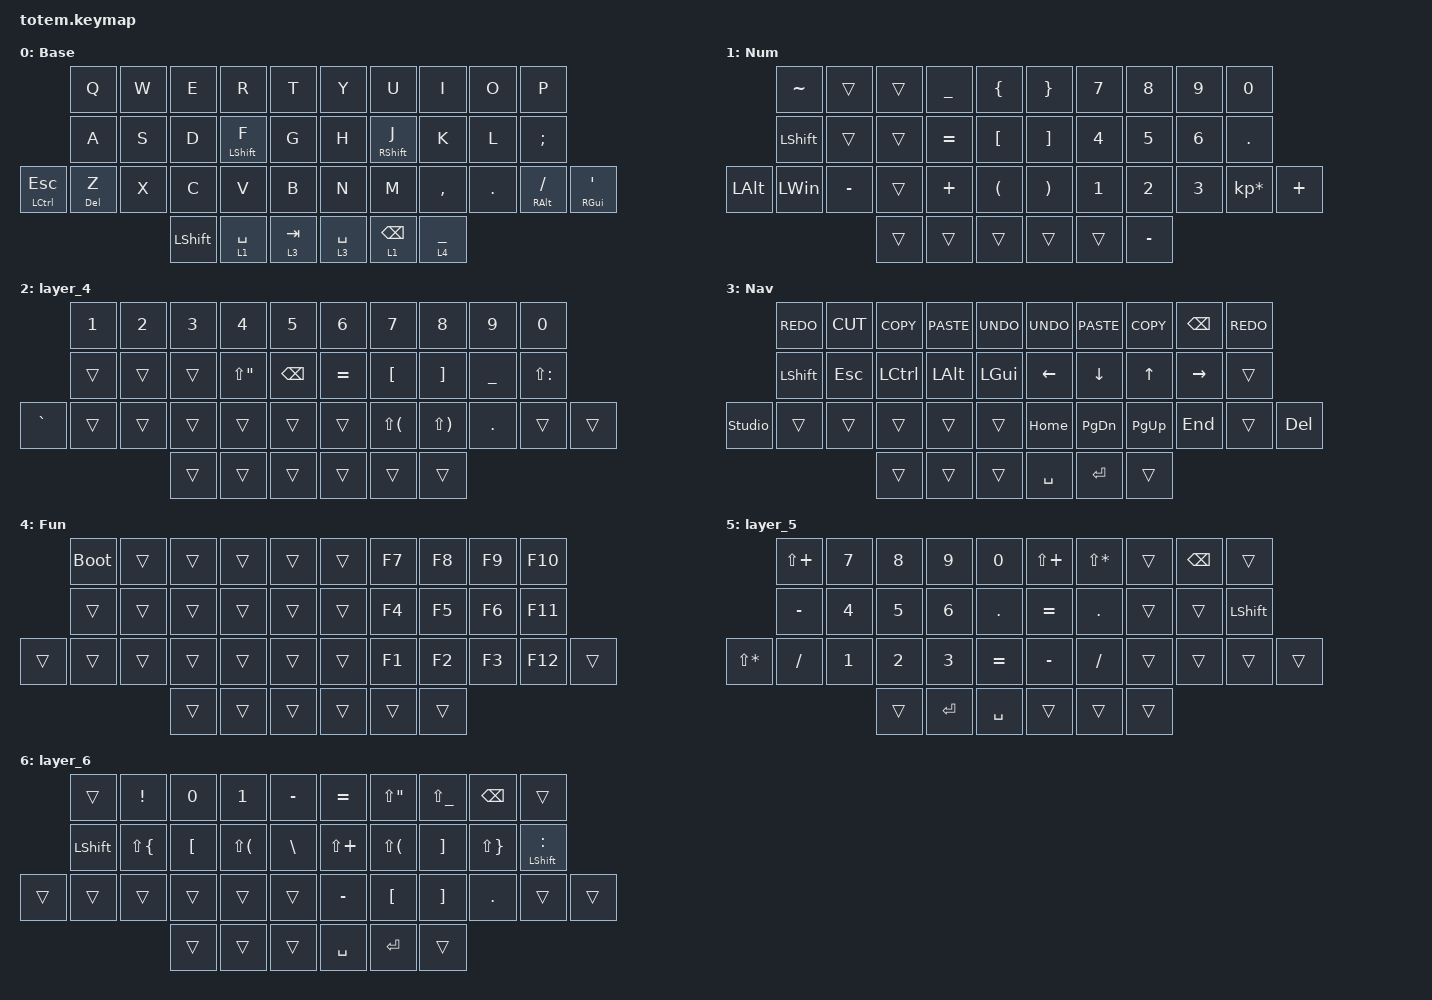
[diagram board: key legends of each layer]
//
//                                                        ▀▀▀▀▀     ▀▀▀▀▀          ▀▀█▀▀
//                                                        ▄▀▀▀▄  ▄  ▄▀▀▀▄  ▄  ▄▀▀▀▄  █  ▄▀▀▀▄
//                                                        █   █  █  █   █  █  █   █  █  █   █
//                                                         ▀▀▀   █   ▀▀▀   █   ▀▀▀   ▀   ▀▀▀
//                                                               █      ▄▄▄█▄▄▄    █   █  
//                                                               ▀      █  █  █     █▄█
//                                                             ▀▀▀▀▀    █  █  █      ▀
//                                                                      ▀  ▀  ▀
//
// ▄▄▄▄▄▄▄▄▄▄▄▄▄▄▄▄▄▄▄▄▄▄▄▄▄▄▄▄▄▄▄▄▄▄▄▄▄▄▄▄▄▄▄▄▄▄▄▄▄▄▄▄▄▄▄▄▄▄▄▄▄▄▄▄▄▄▄▄▄▄▄▄▄▄▄▄▄▄▄▄▄▄▄▄▄▄▄▄▄▄▄▄▄▄▄▄▄▄▄▄▄▄▄▄▄▄▄▄▄▄▄▄▄▄▄▄▄▄▄▄▄▄▄▄▄▄▄▄▄▄▄▄▄▄▄▄▄▄▄▄▄▄▄▄▄▄▄▄▄

#include <behaviors.dtsi>
#include <dt-bindings/zmk/keys.h>

#define Base        0
#define Nav         1
#define Sym         2
#define Fun         3
#define Game        4
#define Gameplus    5

&mt {
    quick-tap-ms = <100>;
    global-quick-tap;
    flavor = "tap-preferred";
    tapping-term-ms = <170>;
};

&lt {
    tapping-term-ms = <240>;
    flavor = "balanced";
    quick-tap-ms = <150>;
};

/ {
    behaviors {
        hm: homerow_mods {
            compatible = "zmk,behavior-hold-tap";
            label = "HOMEROW_MODS";
            #binding-cells = <2>;
            flavor = "tap-preferred";
            tapping-term-ms = <200>;
            quick-tap-ms = <125>;
            global-quick-tap;
            bindings = <&kp>, <&kp>;
        };
    };

    combos { compatible = "zmk,combos"; };

    keymap {
        compatible = "zmk,keymap";

        Base {
            display-name = "Base";
            bindings = <
                  &kp Q         &kp W  &kp E           &kp R             &kp T        &kp Y        &kp U              &kp I        &kp O    &kp P
                  &kp A         &kp S  &kp D           &hm LEFT_SHIFT F  &kp G        &kp H        &hm RIGHT_SHIFT J  &kp K        &kp L    &kp SEMICOLON
&mt LCTRL ESCAPE  &mt DELETE Z  &kp X  &kp C           &kp V             &kp B        &kp N        &kp M              &kp COMMA    &kp DOT  &mt RIGHT_ALT SLASH  &mt RIGHT_GUI APOS
                                       &kp LEFT_SHIFT  &lt 1 SPACE       &lt 3 TAB    &lt 3 SPACE  &lt 1 BACKSPACE    &lt 4 UNDER
            >;
        };

        Num {
            display-name = "Num";
            bindings = <
              &kp TILDE       &trans     &trans  &kp UNDER  &kp LBRC    &kp RBRC  &kp NUMBER_7  &kp NUMBER_8  &kp NUMBER_9  &kp NUMBER_0
              &kp LEFT_SHIFT  &trans     &trans  &kp EQUAL  &kp LBKT    &kp RBKT  &kp NUMBER_4  &kp NUMBER_5  &kp NUMBER_6  &kp PERIOD
&kp LEFT_ALT  &kp LEFT_WIN    &kp MINUS  &trans  &kp PLUS   &kp LPAR    &kp RPAR  &kp NUMBER_1  &kp NUMBER_2  &kp NUMBER_3  &kp KP_MULTIPLY  &kp PLUS
                                         &trans  &trans     &trans      &trans    &trans        &kp MINUS
            >;
        };

        layer_4 {
            bindings = <
           &kp N1  &kp N2  &kp N3  &kp N4       &kp N5           &kp N6     &kp N7        &kp N8        &kp N9          &kp N0
           &trans  &trans  &trans  &kp LS(DQT)  &kp BACKSPACE    &kp EQUAL  &kp LBKT      &kp RBKT      &kp UNDERSCORE  &kp LS(COLON)
&kp GRAVE  &trans  &trans  &trans  &trans       &trans           &trans     &kp LS(LPAR)  &kp LS(RPAR)  &kp DOT         &trans         &trans
                           &trans  &trans       &trans           &trans     &trans        &trans
            >;
        };

        Nav {
            display-name = "Nav";
            bindings = <
                &kp K_REDO      &kp K_CUT   &kp K_COPY  &kp K_PASTE   &kp K_UNDO      &kp K_UNDO      &kp K_PASTE     &kp K_COPY    &kp BACKSPACE    &kp K_REDO
                &kp LEFT_SHIFT  &kp ESCAPE  &kp LCTRL   &kp LEFT_ALT  &kp LEFT_GUI    &kp LEFT_ARROW  &kp DOWN_ARROW  &kp UP_ARROW  &kp RIGHT_ARROW  &trans
&studio_unlock  &trans          &trans      &trans      &trans        &trans          &kp HOME        &kp PAGE_DOWN   &kp PAGE_UP   &kp END          &trans      &kp DEL
                                            &trans      &trans        &trans          &kp SPACE       &kp ENTER       &trans
            >;
        };

        Fun {
            display-name = "Fun";
            bindings = <
        &bootloader  &trans  &trans  &trans  &trans    &trans  &kp F7  &kp F8  &kp F9  &kp F10
        &trans       &trans  &trans  &trans  &trans    &trans  &kp F4  &kp F5  &kp F6  &kp F11
&trans  &trans       &trans  &trans  &trans  &trans    &trans  &kp F1  &kp F2  &kp F3  &kp F12  &trans
                             &trans  &trans  &trans    &trans  &trans  &trans
            >;
        };

        layer_5 {
            bindings = <
              &kp LS(PLUS)  &kp N7  &kp N8  &kp N9      &kp N0       &kp LS(PLUS)  &kp LS(STAR)  &trans  &kp BSPC  &trans
              &kp MINUS     &kp N4  &kp N5  &kp N6      &kp DOT      &kp EQUAL     &kp DOT       &trans  &trans    &kp LSHFT
&kp LS(STAR)  &kp FSLH      &kp N1  &kp N2  &kp N3      &kp EQUAL    &kp MINUS     &kp FSLH      &trans  &trans    &trans     &trans
                                    &trans  &kp RETURN  &kp SPACE    &trans        &trans        &trans
            >;
        };

        layer_6 {
            bindings = <
        &trans     &kp EXCLAMATION  &kp N0    &kp N1        &kp MINUS    &kp EQUAL     &kp LS(DQT)   &kp LS(UNDER)  &kp BSPC      &trans
        &kp LSHFT  &kp LS(LBRC)     &kp LBKT  &kp LS(LPAR)  &kp BSLH     &kp LS(PLUS)  &kp LS(LPAR)  &kp RBKT       &kp LS(RBRC)  &mt LSHFT COLON
&trans  &trans     &trans           &trans    &trans        &trans       &kp MINUS     &kp LBKT      &kp RBKT       &kp DOT       &trans           &trans
                                    &trans    &trans        &trans       &kp SPACE     &kp ENTER     &trans
            >;
        };
    };
};
